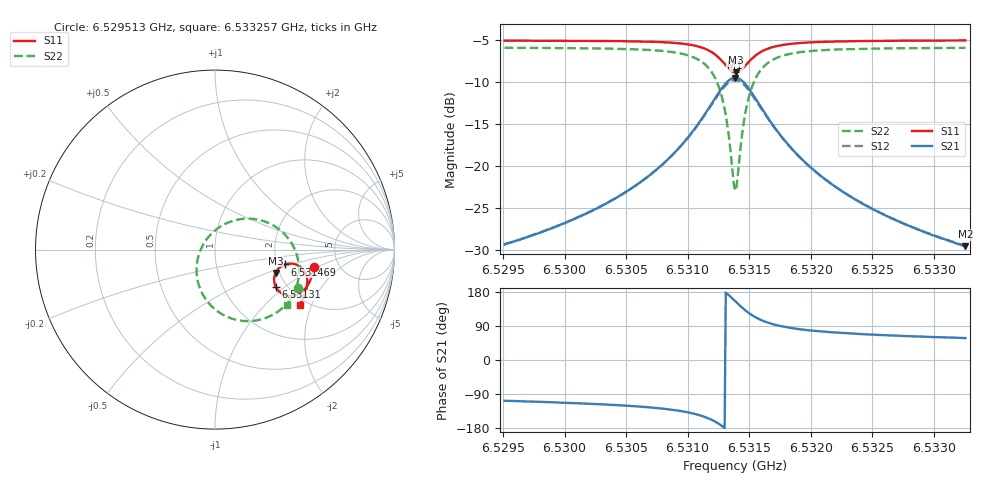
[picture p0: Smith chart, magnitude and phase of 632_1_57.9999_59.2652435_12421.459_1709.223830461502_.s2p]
#  HZ  S  RI  R  50.00
! Rohde & Schwarz Vector Network Analyzer
! Rohde-Schwarz,ZNB20-2Port,1311601062101988,3.16
! Created: UTC 3/21/2024, 1:18:40 AM
! freq[Hz]  re:S11  im:S11  re:S21  im:S21  re:S12  im:S12  re:S22  im:S22
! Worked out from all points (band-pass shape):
!   401 points, 6.529513 GHz to 6.533257 GHz, reference 50 ohm
!   highest |S21| = -9.46 dB at 6.531385 GHz (marker M1); lowest = -29.6 dB at 6.533257 GHz (marker M2)
!   |S21| within 3 dB of the highest: 6.5312 GHz to 6.531574 GHz (374.1 kHz wide, 0.00573 % of centre)
!   lowest |S11| = -8.8 dB at 6.531395 GHz (marker M3), VSWR 2.13, Z = 95.3 - j28.6 ohm
!   |S11| at or under -10 dB: nowhere
!   |S22| runs from -22.9 to -5.9 dB; largest |S21 - S12| = 0.014
!   S11 on the Smith chart (normalised r, x): 6.529513 GHz: 3.28, -0.91; 6.53131 GHz: 1.75, -0.88; 6.531469 GHz: 2.22, -0.44; 6.533257 GHz: 1.83, -1.64
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6.5295131e9  0.5525 -0.0949  -0.0102 -0.0324  -0.011 -0.0322  0.4612 -0.2129
6.5301403e9  0.5392 -0.1479  -0.0211 -0.0459  -0.0223 -0.0455  0.4255 -0.2718
6.5304679e9  0.5272 -0.1794  -0.0336 -0.0586  -0.0354 -0.0578  0.392 -0.3108
6.5307674e9  0.5073 -0.2127  -0.0593 -0.0779  -0.0617 -0.076  0.3342 -0.3561
6.5309827e9  0.4774 -0.2414  -0.1036 -0.0971  -0.1065 -0.0932  0.2455 -0.3918
6.5311512e9  0.4254 -0.2587  -0.1845 -0.0996  -0.1864 -0.0916  0.0989 -0.3862
6.5312448e9  0.3755 -0.2468  -0.261 -0.0623  -0.2584 -0.051  -0.026 -0.3079
6.5312822e9  0.3538 -0.2298  -0.2927 -0.0265  -0.2868 -0.0152  -0.0721 -0.242
6.5313103e9  0.34 -0.2104  -0.3115 0.0105  -0.3027 0.0211  -0.0958 -0.1767
6.5313384e9  0.3312 -0.186  -0.321 0.0557  -0.31 0.064  -0.1027 -0.1006
6.5313665e9  0.3298 -0.158  -0.3176 0.1052  -0.3051 0.1104  -0.0877 -0.0208
6.5313852e9  0.3339 -0.1393  -0.3072 0.1376  -0.2941 0.1405  -0.0645 0.0302
6.5313945e9  0.3373 -0.1305  -0.2996 0.153  -0.2866 0.1547  -0.0492 0.0539
6.5314039e9  0.3417 -0.1219  -0.2904 0.1675  -0.2778 0.168  -0.0317 0.0759
6.5314694e9  0.3893 -0.0827  -0.2021 0.2326  -0.194 0.2284  0.1243 0.1666
6.5315349e9  0.4388 -0.0795  -0.1155 0.2377  -0.1118 0.2336  0.2689 0.1591
6.5316285e9  0.4829 -0.1028  -0.0406 0.2022  -0.039 0.2  0.3898 0.0835
6.531769e9  0.5082 -0.1421  0.0034 0.1479  0.00463 0.1472  0.4542 -0.0243
6.5320123e9  0.5141 -0.1894  0.0208 0.0941  0.0219 0.0936  0.4682 -0.1347
6.5323118e9  0.5073 -0.2272  0.0225 0.0625  0.0235 0.0623  0.4546 -0.2059
6.5326395e9  0.4959 -0.2584  0.0209 0.0448  0.0218 0.0445  0.4357 -0.2532
6.5332572e9  0.4712 -0.3061  0.0177 0.0281  0.0183 0.0279  0.4007 -0.3109
